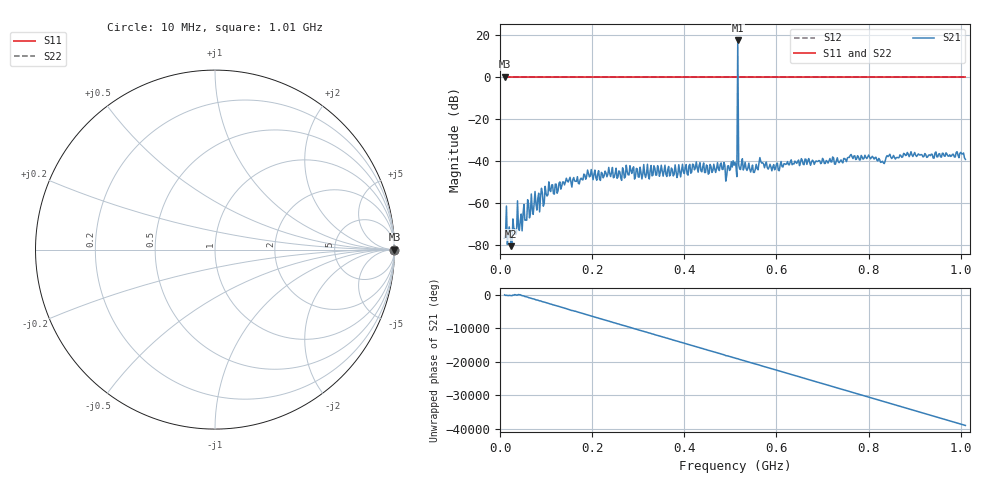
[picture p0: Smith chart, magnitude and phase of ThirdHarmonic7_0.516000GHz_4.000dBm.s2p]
! 8/17/2025 3:06:13 PM
! C:\ANRITSUVNA\TEMP\TEMP.S2P
! CHANNEL.1
! TR.MEASUREMENT
! RAW.DATA
! RF.CORRECTION.OFF
! AVERAGING.OFF
! IF.BANDWIDTH: 5KHZ
! SWEEPTYPE:  FREQ.SWEEP(Linear)
! Reference Plane Port Info
! PORT:  PORT1  PORT2
! DISTANCE:  0  m  0  m
! TIME:  0  s  0  s
! PHASE.OFFSET:  0  deg.  0  deg.
! LOSS:  0  dB  0  dB
! REF.LOSS:  0  dB  0  dB
! REF.FREQ:  0  Hz  0  Hz
! Power Info
! POWER:  -20  dBm  -20  dBm
! EFF.POWER:  -20  dBm  -20  dBm
! SOURCE.ATTEN:  0  dB  0  dB
! TEST.ATTEN:  0  dB  0  dB
# GHZ S RI R 50.0
! FREQ.GHZ  S11RE  S11IM  S21RE  S21IM  S12RE  S12IM  S22RE  S22IM
!; PortSelection: Port_12
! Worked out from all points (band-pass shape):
!   501 points, 10 MHz to 1.01 GHz, reference 50 ohm
!   highest |S21| = 17.18 dB at 516 MHz (marker M1); lowest = -80.4 dB at 24 MHz (marker M2)
!   |S21| within 3 dB of the highest: 515.9071 MHz to 516.1017 MHz (194.6 kHz wide, 0.0377 % of centre)
!   lowest |S11| = 0.0 dB at 10 MHz (marker M3)
!   |S11| at or under -10 dB: nowhere
!   |S22| runs from 0.0 to 0.0 dB; largest |S21 - S12| = 6.3
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0.01  1 0  4.68e-05 -0.00014  1 0  1 0
0.024  1 0  1.72e-05 9.44e-05  1 0  1 0
0.064  1 0  -0.000268 0.000362  1 0  1 0
0.068  1 0  0.00153 -0.00063  1 0  1 0
0.11  1 0  0.000772 0.00173  1 0  1 0
0.178  1 0  -0.00357 -0.000728  1 0  1 0
0.344  1 0  0.006 -0.00264  1 0  1 0
0.482  1 0  -0.00526 -0.0036  1 0  1 0
0.494  1 0  -0.00186 0.00737  1 0  1 0
0.51  1 0  -0.00924 -0.000784  1 0  1 0
0.512  1 0  -0.00104 0.00762  1 0  1 0
0.516  1 0  6.791 -2.466  1 0  1 0
0.52  1 0  -0.00395 0.0052  1 0  1 0
0.522  1 0  0.00257 0.00575  1 0  1 0
0.548  1 0  -0.00168 0.00785  1 0  1 0
0.566  1 0  -0.000926 0.0097  1 0  1 0
0.594  1 0  0.00541 0.0062  1 0  1 0
0.678  1 0  0.00283 -0.0101  1 0  1 0
0.764  1 0  0.00472 0.0118  1 0  1 0
0.83  1 0  0.00431 -0.00887  1 0  1 0
0.844  1 0  -0.00347 0.0129  1 0  1 0
1.01  1 0  -0.00204 -0.0107  1 0  1 0
